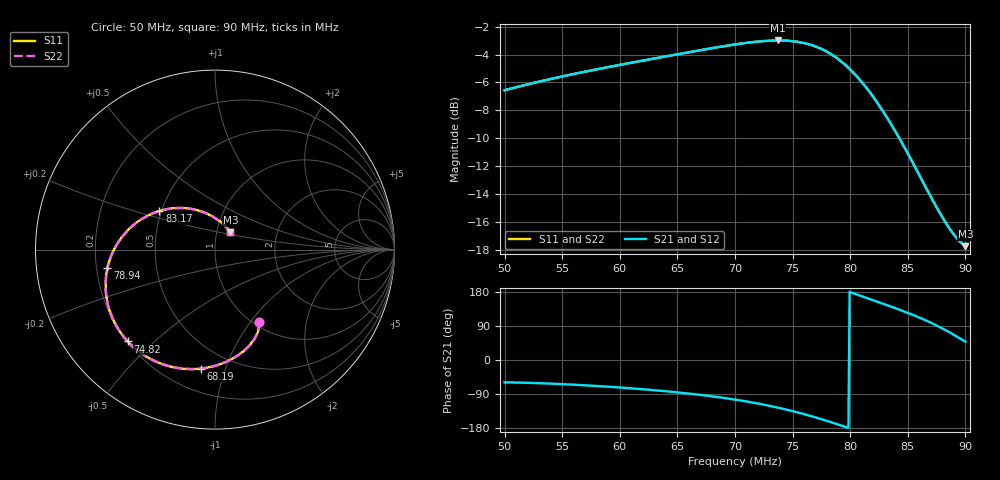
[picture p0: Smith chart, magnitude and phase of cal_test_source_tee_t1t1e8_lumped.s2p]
! Generated by Python
# HZ S RI R 50
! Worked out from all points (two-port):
!   399 points, 50 MHz to 90 MHz, reference 50 ohm
!   highest |S21| = -2.99 dB at 73.72 MHz (marker M1); lowest = -17.7 dB at 90 MHz (marker M2)
!   |S21| within 3 dB of the highest: 52.77 MHz to 81.02 MHz (28.26 MHz wide, 42.2 % of centre)
!   lowest |S11| = -17.7 dB at 90 MHz (marker M3), VSWR 1.30, Z = 58.2 + j11.5 ohm
!   |S11| at or under -10 dB: 84.27 MHz to end of sweep
!   |S22| runs from -17.7 to -3.0 dB; largest |S21 - S12| = 0
!   S11 on the Smith chart (normalised r, x): 50 MHz: 1.06, -1.09; 68.19 MHz: 0.35, -0.83; 74.82 MHz: 0.20, -0.41; 78.94 MHz: 0.25, -0.08; 83.17 MHz: 0.49, +0.24; 90 MHz: 1.16, +0.23
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5e7  0.2424 -0.4026  0.2424 -0.4026  0.2424 -0.4026  0.2424 -0.4026
5.673367e7  0.2189 -0.4992  0.2189 -0.4992  0.2189 -0.4992  0.2189 -0.4992
6.025126e7  0.1693 -0.5567  0.1693 -0.5567  0.1693 -0.5567  0.1693 -0.5567
6.336683e7  0.0994 -0.6066  0.0994 -0.6066  0.0994 -0.6066  0.0994 -0.6066
6.59799e7  0.0162 -0.6428  0.0162 -0.6428  0.0162 -0.6428  0.0162 -0.6428
6.819096e7  -0.0769 -0.6627  -0.0769 -0.6627  -0.0769 -0.6627  -0.0769 -0.6627
7e7  -0.1716 -0.664  -0.1716 -0.664  -0.1716 -0.664  -0.1716 -0.664
7.211055e7  -0.3031 -0.6346  -0.3031 -0.6346  -0.3031 -0.6346  -0.3031 -0.6346
7.371859e7  -0.4127 -0.5763  -0.4127 -0.5763  -0.4127 -0.5763  -0.4127 -0.5763
7.482412e7  -0.4861 -0.5119  -0.4861 -0.5119  -0.4861 -0.5119  -0.4861 -0.5119
7.673367e7  -0.5841 -0.3486  -0.5841 -0.3486  -0.5841 -0.3486  -0.5841 -0.3486
7.79397e7  -0.6095 -0.2185  -0.6095 -0.2185  -0.6095 -0.2185  -0.6095 -0.2185
7.894472e7  -0.5993 -0.1038  -0.5993 -0.1038  -0.5993 -0.1038  -0.5993 -0.1038
7.994975e7  -0.5608 0.00418  -0.5608 0.00418  -0.5608 0.00418  -0.5608 0.00418
8.115578e7  -0.4812 0.1126  -0.4812 0.1126  -0.4812 0.1126  -0.4812 0.1126
8.226131e7  -0.3893 0.1815  -0.3893 0.1815  -0.3893 0.1815  -0.3893 0.1815
8.316583e7  -0.3095 0.2151  -0.3095 0.2151  -0.3095 0.2151  -0.3095 0.2151
8.336683e7  -0.2919 0.2201  -0.2919 0.2201  -0.2919 0.2201  -0.2919 0.2201
8.487437e7  -0.1668 0.2312  -0.1668 0.2312  -0.1668 0.2312  -0.1668 0.2312
8.668342e7  -0.046 0.201  -0.046 0.201  -0.046 0.201  -0.046 0.201
8.879397e7  0.0498 0.1377  0.0498 0.1377  0.0498 0.1377  0.0498 0.1377
9e7  0.0859 0.097  0.0859 0.097  0.0859 0.097  0.0859 0.097
